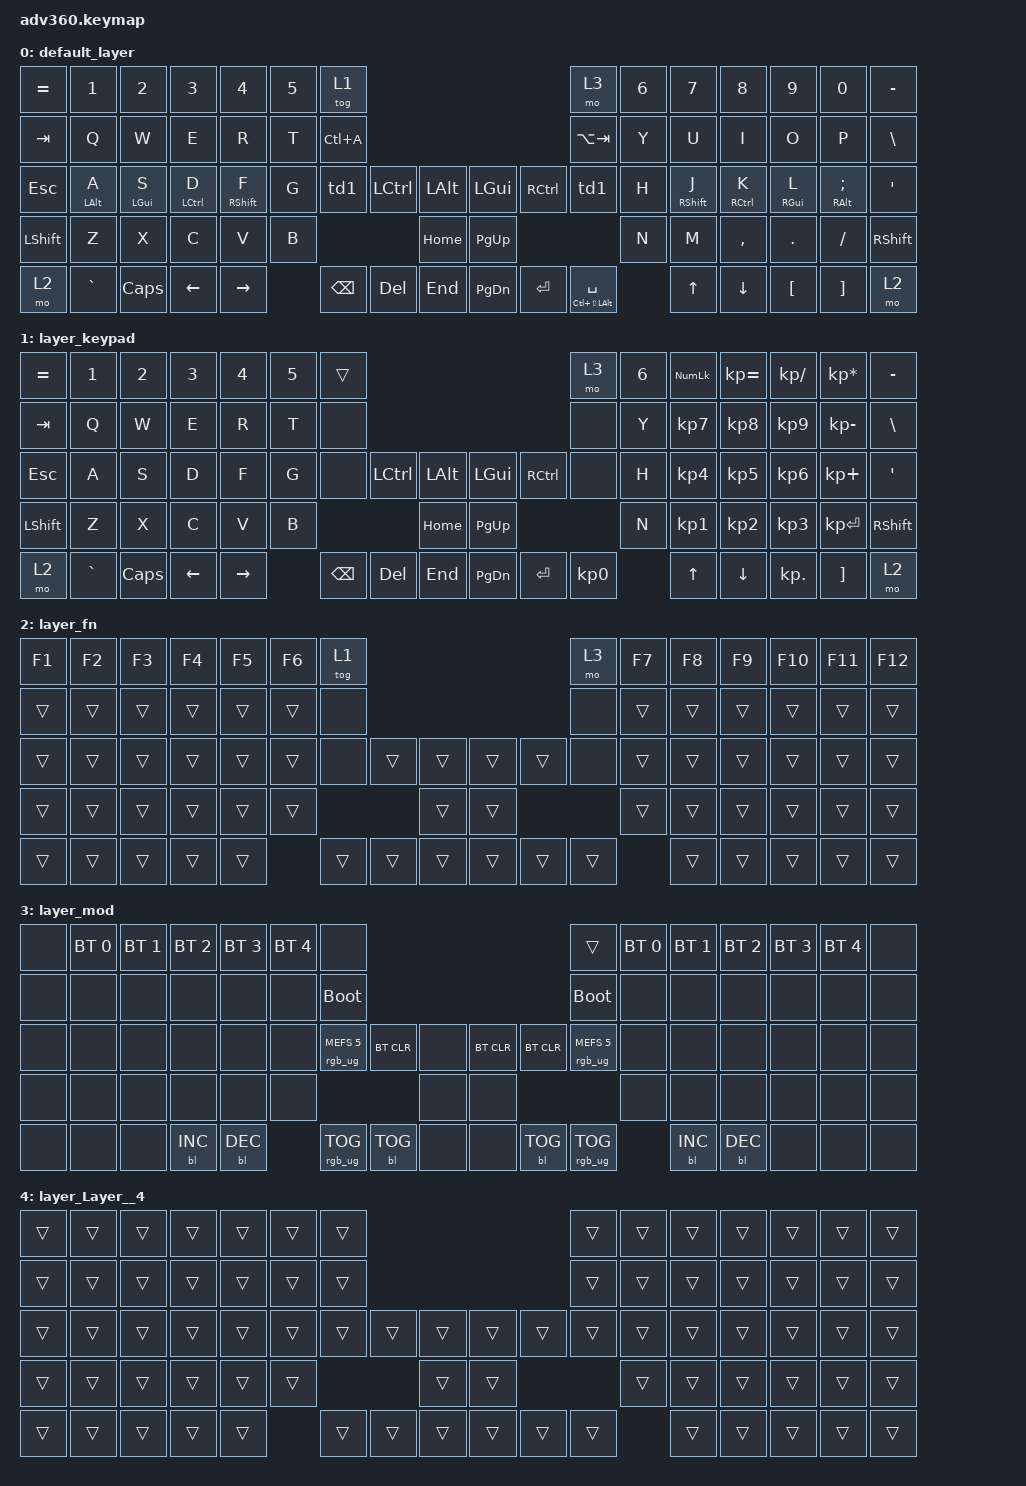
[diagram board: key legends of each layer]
/*
 * Copyright (c) 2020 The ZMK Contributors
 *
 * SPDX-License-Identifier: MIT
 */
/* THIS FILE WAS GENERATED!
 *
 * This file was generated automatically. You may or may not want to
 * edit it directly.
 */

#include <behaviors.dtsi>
#include <dt-bindings/zmk/backlight.h>
#include <dt-bindings/zmk/bt.h>
#include <dt-bindings/zmk/keys.h>
#include <dt-bindings/zmk/rgb.h>

/ {
    behaviors {
        #include "macros.dtsi"

        hm: homerow_mods {
            compatible = "zmk,behavior-hold-tap";
            label = "HOMEROW_MODS";
            #binding-cells = <2>;
            tapping-term-ms = <200>;
            quick_tap_ms = <175>;
            flavor = "tap-preferred";
            bindings = <&kp>, <&kp>;
        };

        // example single press = 1, double press =2, tripple press 3

        td0: tap_dance_0 {
            compatible = "zmk,behavior-tap-dance";
            label = "TAP_DANCE_0";
            #binding-cells = <0>;
            tapping-term-ms = <300>;
            bindings = <&kp N1>, <&kp N2>, <&kp N3>;
        };

        // single tap=copy, double tap = paste, trippe tap = cut

        td1: tap_dance_1 {
            compatible = "zmk,behavior-tap-dance";
            label = "TAP_DANCE_1";
            #binding-cells = <0>;
            tapping-term-ms = <300>;
            bindings = <&kp LC(C)>, <&kp LC(V)>, <&kp LC(X)>;
        };
    };

    keymap {
        compatible = "zmk,keymap";

        default_layer {
            bindings = <
&kp EQUAL  &kp N1      &kp N2      &kp N3       &kp N4       &kp N5  &tog 1                                                    &mo 3                 &kp N6  &kp N7       &kp N8       &kp N9      &kp N0         &kp MINUS
&kp TAB    &kp Q       &kp W       &kp E        &kp R        &kp T   &kp LC(A)                                                 &kp LA(TAB)           &kp Y   &kp U        &kp I        &kp O       &kp P          &kp BSLH
&kp ESC    &hm LALT A  &hm LGUI S  &hm LCTRL D  &hm RSHFT F  &kp G   &td1       &kp LCTRL  &kp LALT      &kp LGUI   &kp RCTRL  &td1                  &kp H   &hm RSHFT J  &hm RCTRL K  &hm RGUI L  &hm RALT SEMI  &kp SQT
&kp LSHFT  &kp Z       &kp X       &kp C        &kp V        &kp B                         &kp HOME      &kp PG_UP                                   &kp N   &kp M        &kp COMMA    &kp DOT     &kp FSLH       &kp RSHFT
&mo 2      &kp GRAVE   &kp CAPS    &kp LEFT     &kp RIGHT            &kp BSPC   &kp DEL    &kp END       &kp PG_DN  &kp ENTER  &mt LC(LS(LALT)) SPC          &kp UP       &kp DOWN     &kp LBKT    &kp RBKT       &mo 2
            >;
        };

        layer_keypad {
            bindings = <
&kp EQUAL  &kp N1     &kp N2    &kp N3    &kp N4     &kp N5  &trans                                                   &mo 3      &kp N6  &kp KP_NUM  &kp KP_EQUAL  &kp KP_DIVIDE  &kp KP_MULTIPLY  &kp MINUS
&kp TAB    &kp Q      &kp W     &kp E     &kp R      &kp T   &none                                                    &none      &kp Y   &kp KP_N7   &kp KP_N8     &kp KP_N9      &kp KP_MINUS     &kp BSLH
&kp ESC    &kp A      &kp S     &kp D     &kp F      &kp G   &none     &kp LCTRL  &kp LALT      &kp LGUI   &kp RCTRL  &none      &kp H   &kp KP_N4   &kp KP_N5     &kp KP_N6      &kp KP_PLUS      &kp SQT
&kp LSHFT  &kp Z      &kp X     &kp C     &kp V      &kp B                        &kp HOME      &kp PG_UP                        &kp N   &kp KP_N1   &kp KP_N2     &kp KP_N3      &kp KP_ENTER     &kp RSHFT
&mo 2      &kp GRAVE  &kp CAPS  &kp LEFT  &kp RIGHT          &kp BSPC  &kp DEL    &kp END       &kp PG_DN  &kp ENTER  &kp KP_N0          &kp UP      &kp DOWN      &kp KP_DOT     &kp RBKT         &mo 2
            >;
        };

        layer_fn {
            bindings = <
&kp F1  &kp F2  &kp F3  &kp F4  &kp F5  &kp F6  &tog 1                                      &mo 3   &kp F7  &kp F8  &kp F9  &kp F10  &kp F11  &kp F12
&trans  &trans  &trans  &trans  &trans  &trans  &none                                       &none   &trans  &trans  &trans  &trans   &trans   &trans
&trans  &trans  &trans  &trans  &trans  &trans  &none   &trans  &trans      &trans  &trans  &none   &trans  &trans  &trans  &trans   &trans   &trans
&trans  &trans  &trans  &trans  &trans  &trans                  &trans      &trans                  &trans  &trans  &trans  &trans   &trans   &trans
&trans  &trans  &trans  &trans  &trans          &trans  &trans  &trans      &trans  &trans  &trans          &trans  &trans  &trans   &trans   &trans
            >;
        };

        layer_mod {
            bindings = <
&none  &bt BT_SEL 0  &bt BT_SEL 1  &bt BT_SEL 2  &bt BT_SEL 3  &bt BT_SEL 4  &none                                                                  &trans                  &bt BT_SEL 0  &bt BT_SEL 1  &bt BT_SEL 2  &bt BT_SEL 3  &bt BT_SEL 4  &none
&none  &none         &none         &none         &none         &none         &bootloader                                                            &bootloader             &none         &none         &none         &none         &none         &none
&none  &none         &none         &none         &none         &none         &rgb_ug RGB_MEFS_CMD 5  &bt BT_CLR  &none      &bt BT_CLR  &bt BT_CLR  &rgb_ug RGB_MEFS_CMD 5  &none         &none         &none         &none         &none         &none
&none  &none         &none         &none         &none         &none                                             &none      &none                                           &none         &none         &none         &none         &none         &none
&none  &none         &none         &bl BL_INC    &bl BL_DEC                  &rgb_ug RGB_TOG         &bl BL_TOG  &none      &none       &bl BL_TOG  &rgb_ug RGB_TOG                       &bl BL_INC    &bl BL_DEC    &none         &none         &none
            >;
        };

        layer_Layer__4 {
            bindings = <
&trans  &trans  &trans  &trans  &trans  &trans  &trans                                      &trans  &trans  &trans  &trans  &trans  &trans  &trans
&trans  &trans  &trans  &trans  &trans  &trans  &trans                                      &trans  &trans  &trans  &trans  &trans  &trans  &trans
&trans  &trans  &trans  &trans  &trans  &trans  &trans  &trans  &trans      &trans  &trans  &trans  &trans  &trans  &trans  &trans  &trans  &trans
&trans  &trans  &trans  &trans  &trans  &trans                  &trans      &trans                  &trans  &trans  &trans  &trans  &trans  &trans
&trans  &trans  &trans  &trans  &trans          &trans  &trans  &trans      &trans  &trans  &trans          &trans  &trans  &trans  &trans  &trans
            >;
        };
    };
};
